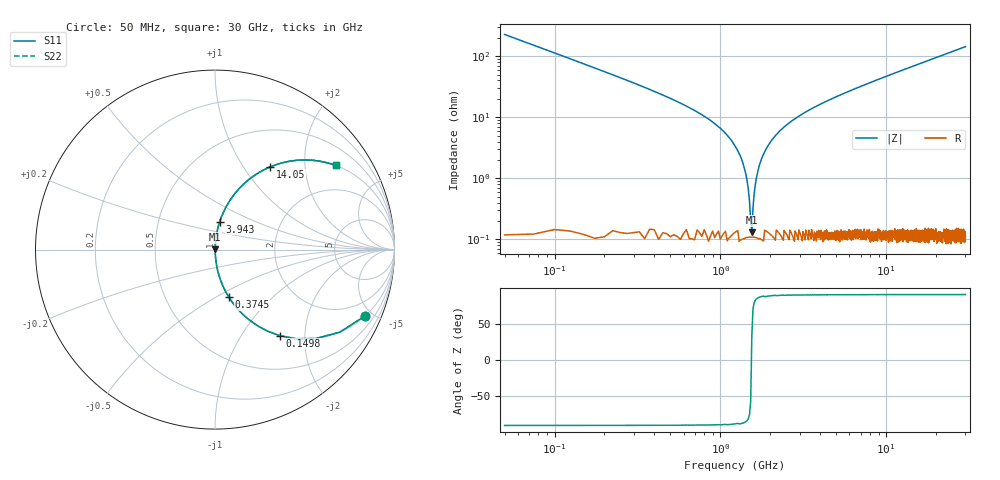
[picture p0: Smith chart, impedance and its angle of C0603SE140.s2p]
!	AVX Thin Film Operation 	Date: April 2014
!	Description: Accu-P® Series, Thin Film  SMD RF Capacitor
!	Part Number: 06035J140FBSTR
# MHZ S MA R 50
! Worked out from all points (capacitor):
!   1201 points, 50 MHz to 30 GHz, reference 50 ohm
!   read as one part in series: C = 14 pF near 199.8 MHz
!   lowest |Z| = 131 mohm at 1.548 GHz (marker M1)
!   series resonance near 1.54 GHz, so ESL is about 760 pH
!   S11 on the Smith chart (normalised r, x): 50 MHz: 1.00, -4.54; 149.8 MHz: 1.00, -1.50; 374.5 MHz: 1.00, -0.57; 3.943 GHz: 1.00, +0.32; 14.05 GHz: 1.00, +1.33; 30 GHz: 1.00, +2.87
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50  0.915 -23.8  0.403 66.2  0.403 66.2  0.915 -23.8
149.833  0.6 -53.0  0.799 36.9  0.799 36.9  0.6 -53.0
249.667  0.405 -66.0  0.913 23.9  0.913 23.9  0.405 -66.0
374.458  0.274 -73.8  0.96 15.9  0.96 15.9  0.274 -73.8
673.958  0.135 -81.7  0.99 7.8  0.99 7.8  0.135 -81.7
1148.167  0.044 -85.9  0.998 2.5  0.998 2.5  0.044 -85.9
1297.917  0.025 -85.9  0.999 1.5  0.999 1.5  0.025 -85.9
1447.667  0.00919 -82.1  0.999 0.5  0.999 0.5  0.00919 -82.1
1547.5  0.001384 31.6  0.999 -0.0  0.999 -0.0  0.001384 31.6
1647.333  0.01 82.7  0.999 -0.6  0.999 -0.6  0.01 82.7
1747.167  0.019 85.3  0.999 -1.1  0.999 -1.1  0.019 85.3
1871.958  0.029 86.0  0.998 -1.7  0.998 -1.7  0.029 86.0
2196.417  0.053 85.7  0.997 -3.1  0.997 -3.1  0.053 85.7
2845.333  0.096 83.8  0.994 -5.5  0.994 -5.5  0.096 83.8
3943.5  0.158 80.5  0.986 -9.1  0.986 -9.1  0.158 80.5
5041.667  0.214 77.3  0.976 -12.3  0.976 -12.3  0.214 77.3
10058.29  0.426 64.7  0.904 -25.2  0.904 -25.2  0.426 64.7
14051.62  0.554 56.3  0.832 -33.6  0.832 -33.6  0.554 56.3
15025  0.58 54.5  0.814 -35.4  0.814 -35.4  0.58 54.5
20016.67  0.69 46.3  0.723 -43.6  0.723 -43.6  0.69 46.3
25033.29  0.767 39.9  0.641 -50.1  0.641 -50.1  0.767 39.9
30000  0.82 34.9  0.572 -55.1  0.572 -55.1  0.82 34.9
